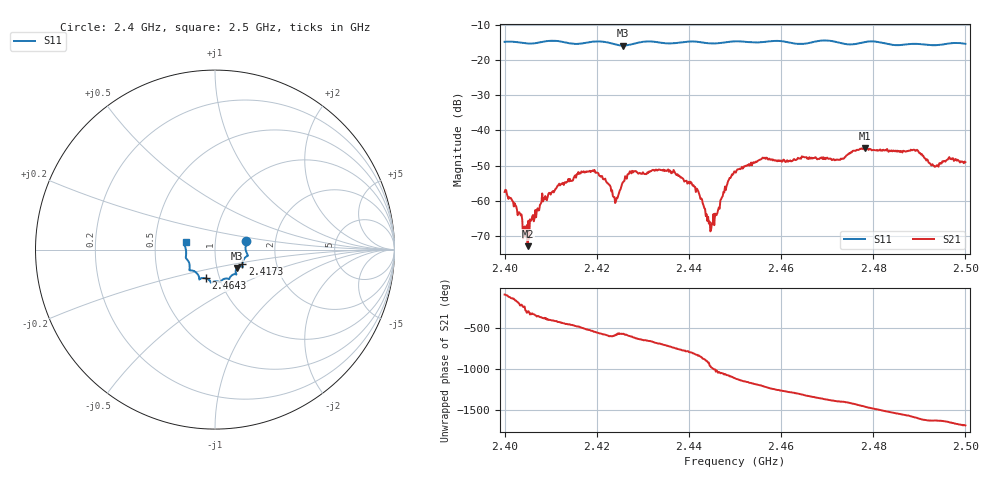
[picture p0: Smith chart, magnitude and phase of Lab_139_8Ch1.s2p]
# Hz S RI R 50
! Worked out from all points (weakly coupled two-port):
!   601 points, 2.4 GHz to 2.5 GHz, reference 50 ohm
!   highest |S21| = -45.11 dB at 2.4782 GHz (marker M1); lowest = -72.8 dB at 2.405 GHz (marker M2)
!   lowest |S11| = -15.9 dB at 2.4257 GHz (marker M3), VSWR 1.38, Z = 62.4 - j13.1 ohm
!   |S11| at or under -10 dB: start of sweep to end of sweep
!   S12 and S22 are empty: the file has one direction only
!   S11 on the Smith chart (normalised r, x): 2.4 GHz: 1.41, +0.15; 2.4173 GHz: 1.34, -0.23; 2.4643 GHz: 0.86, -0.28; 2.5 GHz: 0.72, +0.06
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2.4e9  0.1734 0.05  -6.44e-05 -0.00134  0 0  0 0
2.4045e9  0.1707 0.0192  8.66e-05 0.000298  0 0  0 0
2.405e9  0.1699 0.0134  0.000118 0.000195  0 0  0 0
2.408333e9  0.1797 -0.0238  0.000923 -0.000337  0 0  0 0
2.416667e9  0.1531 -0.0748  -0.0019 -0.00181  0 0  0 0
2.417333e9  0.1524 -0.0823  -0.00214 -0.00135  0 0  0 0
2.420667e9  0.1545 -0.0965  -0.00201 0.00104  0 0  0 0
2.424e9  0.1361 -0.0942  -0.00058 0.000729  0 0  0 0
2.425667e9  0.1226 -0.1023  -0.00156 0.000957  0 0  0 0
2.427667e9  0.1153 -0.1206  -0.00108 0.00244  0 0  0 0
2.433333e9  0.1128 -0.1366  0.0024 0.00139  0 0  0 0
2.440833e9  0.0785 -0.1647  1.22e-05 -0.00164  0 0  0 0
2.444667e9  0.058 -0.1611  -0.000148 0.000338  0 0  0 0
2.45e9  0.0296 -0.1807  0.00216 -0.00144  0 0  0 0
2.456e9  -0.00676 -0.1786  -0.00265 -0.00314  0 0  0 0
2.464333e9  -0.0502 -0.1602  -0.00259 0.003  0 0  0 0
2.466667e9  -0.0761 -0.1598  -0.000735 0.00403  0 0  0 0
2.478167e9  -0.1365 -0.116  0.00521 -0.00193  0 0  0 0
2.483333e9  -0.1408 -0.0894  0.000619 -0.00493  0 0  0 0
2.489167e9  -0.1625 -0.0453  -0.00451 -0.00239  0 0  0 0
2.493167e9  -0.1608 -0.0119  -0.0031 0.000562  0 0  0 0
2.5e9  -0.1635 0.0421  -0.00124 0.00331  0 0  0 0
